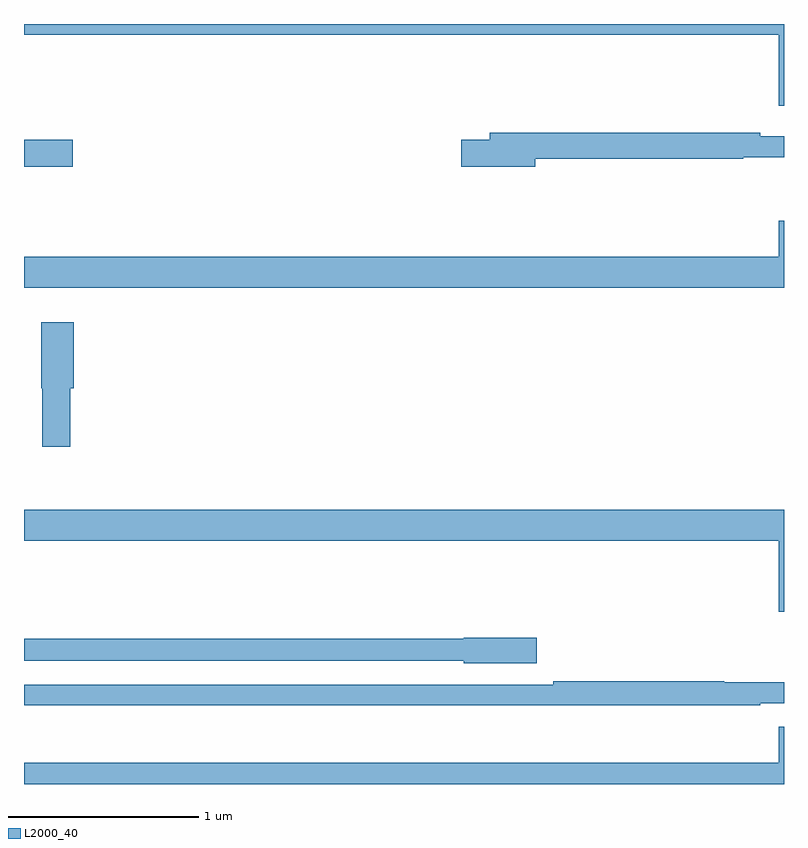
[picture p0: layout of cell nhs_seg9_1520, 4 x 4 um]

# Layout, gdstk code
import gdstk
lib = gdstk.Library(unit=1e-6, precision=1e-09)
def R(c, l, rs):  # rectangles x0, y0, x1, y1
    for r in rs: c.add(gdstk.rectangle(r[:2], r[2:], *l))
def P(c, l, *ps):  # polygons
    for p in ps: c.add(gdstk.Polygon(p, *l))
L2000_40 = (2000, 40)

nhs_seg9_1520 = lib.new_cell('nhs_seg9_1520')
R(nhs_seg9_1520, L2000_40, [(197,1171.75,197.257,1171.892)])
P(nhs_seg9_1520, L2000_40, [(201,1172.5),(197,1172.5),(197,1172.444),(200.972,1172.444),(200.972,1172.07),(201,1172.07)],
  [(199.69,1171.792),(200.786,1171.792),(200.786,1171.8),(201,1171.8),(201,1171.909),(200.876,1171.909),(200.876,1171.928),(199.451,1171.928),(199.451,1171.892),(199.302,1171.892),(199.302,1171.75),(199.69,1171.75)],
  [(201,1171.465),(200.972,1171.465),(200.972,1171.276),(197,1171.276),(197,1171.112),(201,1171.112)],
  [(197.243,1170.582),(197.261,1170.582),(197.261,1170.931),(197.09,1170.931),(197.09,1170.582),(197.096,1170.582),(197.096,1170.276),(197.243,1170.276)],
  [(201,1169.944),(197,1169.944),(197,1169.78),(200.972,1169.78),(200.972,1169.406),(201,1169.406)],
  [(199.699,1169.27),(199.314,1169.27),(199.314,1169.264),(197,1169.264),(197,1169.148),(199.314,1169.148),(199.314,1169.135),(199.699,1169.135)],
  [(200.876,1168.926),(201,1168.926),(201,1169.035),(200.686,1169.035),(200.686,1169.042),(199.786,1169.042),(199.786,1169.022),(197,1169.022),(197,1168.914),(200.876,1168.914)],
  [(201,1168.801),(200.972,1168.801),(200.972,1168.612),(197,1168.612),(197,1168.5),(201,1168.5)])

lib.write_gds('nhs_seg9_1520.gds')
